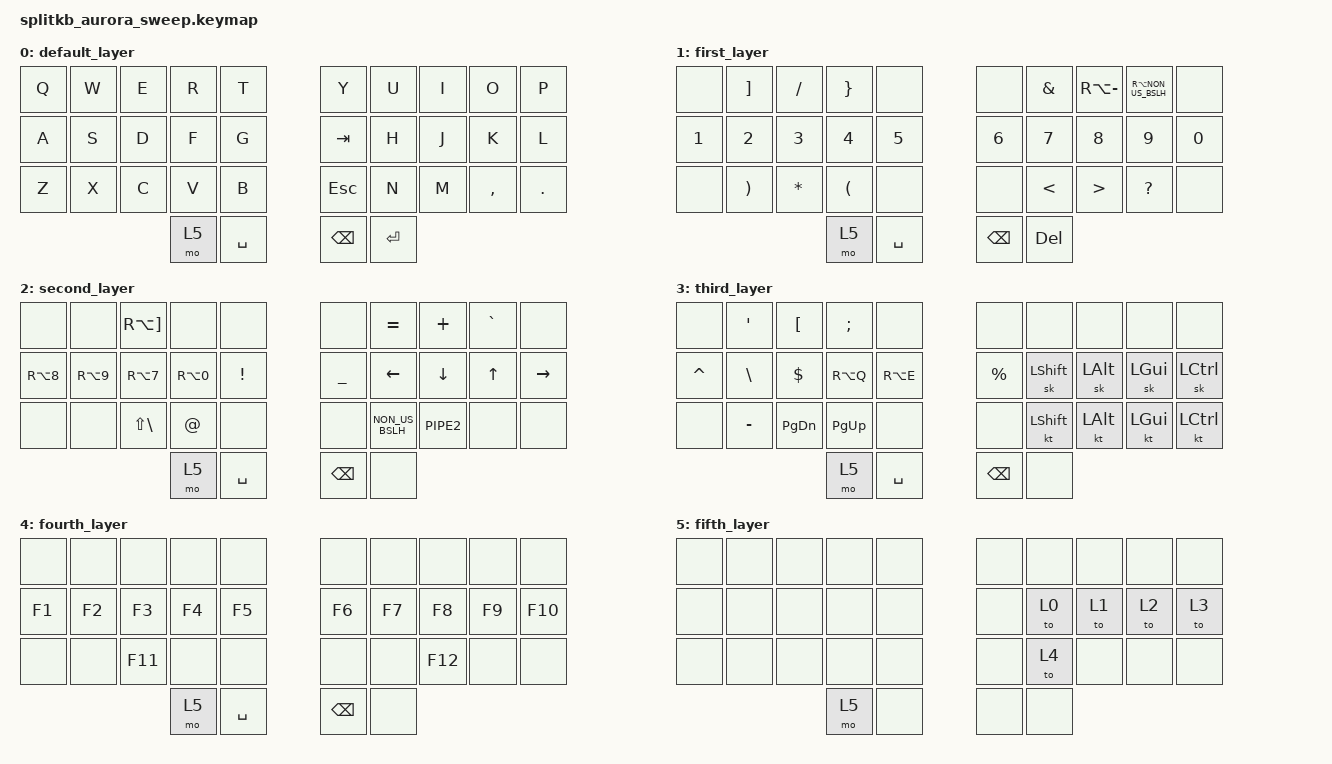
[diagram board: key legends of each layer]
/*
* Copyright (c) 2022 The ZMK Contributors
*
* SPDX-License-Identifier: MIT
*/

#include <behaviors.dtsi>
#include <dt-bindings/zmk/keys.h>
#include <dt-bindings/zmk/bt.h>

///// MACROS /////

// increase sticky keys release
&sk {
  release-after-ms = <5000>;
};

/ {

  keymap {
    compatible = "zmk,keymap";

    default_layer {
      bindings = <
        &kp Q &kp W &kp E &kp R &kp T                  &kp Y      &kp U   &kp I &kp O     &kp P
        &kp A &kp S &kp D &kp F &kp G                  &kp TAB    &kp H   &kp J &kp K     &kp L
        &kp Z &kp X &kp C &kp V &kp B                  &kp ESC    &kp N   &kp M &kp COMMA &kp DOT
                          &mo 5 &kp SPACE              &kp BSPC   &kp RET
      >;
    };

    first_layer {
      bindings = <
        &none  &kp RBKT &kp FSLH &kp RBRC &none              &none    &kp AMPS &kp RA(MINUS) &kp RA(NON_US_BSLH) &none 
        &kp N1 &kp N2   &kp N3   &kp N4   &kp N5             &kp N6   &kp N7   &kp N8        &kp N9              &kp N0
        &none  &kp RPAR &kp STAR &kp LPAR &none              &none    &kp LT   &kp GT        &kp QMARK           &none
                                 &mo 5    &kp SPACE          &kp BSPC &kp DEL
      >;
    };

    second_layer {
      bindings = <
        &none      &none      &kp RA(RBKT) &none      &none              &none     &kp EQUAL         &kp PLUS  &kp GRAVE &none 
        &kp RA(N8) &kp RA(N9) &kp RA(N7)   &kp RA(N0) &kp EXCL           &kp UNDER &kp LEFT          &kp DOWN  &kp UP    &kp RIGHT
        &none      &none      &kp LS(BSLH) &kp AT     &none              &none     &kp NON_US_BSLH   &kp PIPE2 &none     &none
                                           &mo 5      &kp SPACE          &kp BSPC  &none
      >;
    };

    third_layer {
      bindings = <
        &none     &kp SQT   &kp LBKT  &kp SEMI  &none              &none     &none     &none    &none    &none 
        &kp CARET &kp BSLH  &kp DLLR  &kp RA(Q) &kp RA(E)          &kp PRCNT &sk LSHFT &sk LALT &sk LGUI &sk LCTRL
        &none     &kp MINUS &kp PG_DN &kp PG_UP &none              &none     &kt LSHFT &kt LALT &kt LGUI &kt LCTRL
                                      &mo 5     &kp SPACE          &kp BSPC  &none
      >;
    };

    fourth_layer {
      bindings = <
        &none  &none  &none   &none  &none              &none  &none  &none   &none  &none 
        &kp F1 &kp F2 &kp F3  &kp F4 &kp F5             &kp F6 &kp F7 &kp F8  &kp F9 &kp F10
        &none  &none  &kp F11 &none  &none              &none  &none  &kp F12 &none  &none 
                              &mo 5  &kp SPACE          &kp BSPC  &none
      >;
    };

    fifth_layer {
      bindings = <
        &none  &none  &none &none  &none          &none  &none  &none &none  &none 
        &none  &none  &none &none  &none          &none  &to 0  &to 1 &to 2  &to 3 
        &none  &none  &none &none  &none          &none  &to 4  &none &none  &none 
                            &mo 5  &none          &none  &none
      >;
    };

///// DEFAULT LAYOUT /////

//    default_layer {
//      bindings = <
//        &kp Q &kp W &kp E &kp R &kp T                       &kp Y &kp U  &kp I    &kp O   &kp P
//        &kp A &kp S &kp D &kp F &kp G                               &kp H &kp J &kp K &kp L &kp SQT
//        &mt LSHFT Z &kp X &kp C &kp V &kp B                      &kp N &kp M  &kp COMMA &kp DOT &mt LSHFT RET
//        &mo 1 &kp LCTRL                  &kp SPACE &mo 2
//      >;
//    };
//
//    left_layer {
//      bindings = <
//        &kp N1  &kp N2    &kp N3    &kp N4    &kp N5     &kp N6 &kp N7 &kp N8 &kp N9 &kp N0
//        &kp TAB    &kp LC(S)    &kp DQT      &kp PIPE2     &kp HASH         &kp MINUS &kp EQUAL  &kp LBKT &kp RBKT  &kp DEL
//        &kp ESC    &kp TILDE    &kp NON_US_BSLH &kp NON_US_HASH  &kp TILDE2     &kp MINUS &kp GRAVE &kp LBKT &kp RBKT  &kp DEL
//        &mo 1  &kp LGUI                     &kp RGUI &mo 2
//      >;
//    };
//
//    right_layer {
//      bindings = <
//        &kp EXCL  &kp AT &kp HASH  &kp DLLR  &kp PRCNT             &kp CARET  &kp AMPS &kp KP_MULTIPLY &kp LPAR &kp RPAR
//        &kp HASH  &kp QMARK  &kp FSLH  &kp COLON  &kp SEMI           &kp MINUS &kp KP_EQUAL  &kp LBRC  &kp RBRC   &kp BSPC
//        &kp LSHFT  &kp KP_PLUS &kp LBKT &kp RBKT   &kp BSLH             &kp UNDER &kp LEFT &kp DOWN &kp UP  &kp RIGHT
//        &mo 3 &kp LCTRL                &kp SPACE  &mo 2
//      >;
//    };
//
//    tri_layer {
//      bindings = <
//        &kp N1  &kp N2    &kp N3    &kp N4    &kp N5             &trans &trans   &trans   &trans  &trans
//        &kp F1 &kp F2 &kp F3 &kp F4 &kp F5                          &trans &kp PG_UP  &kp K_VOL_UP &kp K_MUTE &trans
//        &bt BT_CLR  &bt BT_NXT &bt BT_PRV &kp F6 &kp F7                 &trans &kp PG_DN  &kp K_VOL_DN  &trans &trans
//        &trans &trans                      &trans &trans
//      >;
//    };

  };
};

